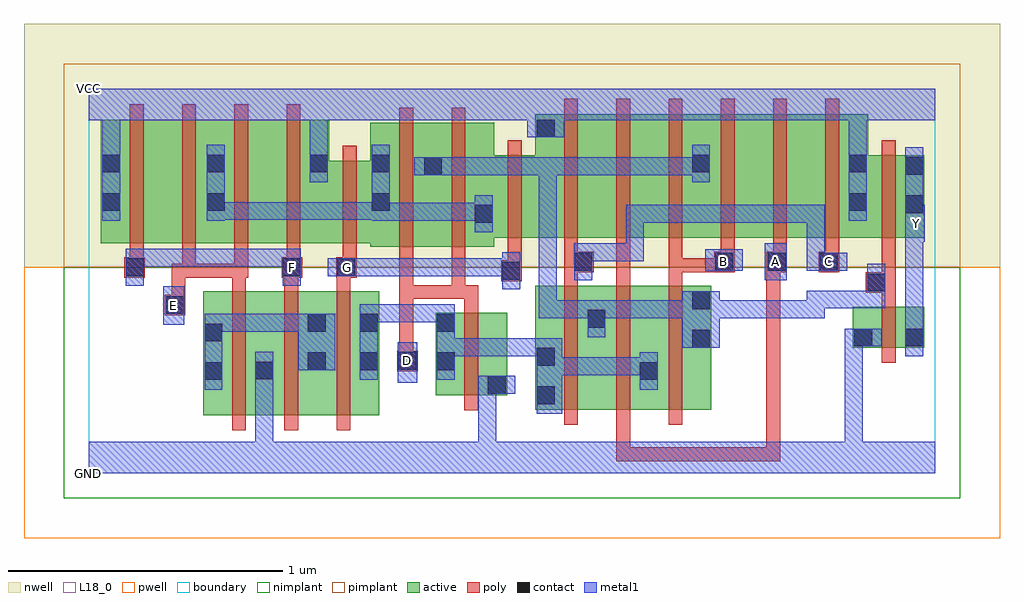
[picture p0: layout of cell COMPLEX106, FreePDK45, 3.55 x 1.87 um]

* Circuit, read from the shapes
.subckt COMPLEX106 A B C D E F G GND VCC Y
M1 GND E n1 VSUBS nfet w=0.45u l=0.05u
M2 n1 F GND VSUBS nfet w=0.45u l=0.05u
M3 n2 G n1 VSUBS nfet w=0.45u l=0.05u
M4 GND D n2 VSUBS nfet w=0.3u l=0.05u
M5 n3 C n2 VSUBS nfet w=0.45u l=0.05u
M6 n2 A n3 VSUBS nfet w=0.45u l=0.05u
M7 n3 B n2 VSUBS nfet w=0.45u l=0.05u
M8 Y n3 GND VSUBS nfet w=0.15u l=0.05u
M9 n4 F VCC n5 pfet w=0.45u l=0.05u
M10 n6 E n4 n5 pfet w=0.45u l=0.05u
M11 n7 E n6 n5 pfet w=0.45u l=0.05u
M12 VCC F n7 n5 pfet w=0.45u l=0.05u
M13 n6 G VCC n5 pfet w=0.3u l=0.05u m=2
M14 n3 D n6 n5 pfet w=0.45u l=0.05u m=2
M15 n8 C VCC n5 pfet w=0.45u l=0.05u
M16 n9 A n8 n5 pfet w=0.45u l=0.05u
M17 n3 B n9 n5 pfet w=0.45u l=0.05u
M18 n10 B n3 n5 pfet w=0.45u l=0.05u
M19 n11 A n10 n5 pfet w=0.45u l=0.05u
M20 VCC C n11 n5 pfet w=0.45u l=0.05u
M21 Y n3 VCC n5 pfet w=0.3u l=0.05u
.ends

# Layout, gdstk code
import gdstk
lib = gdstk.Library(unit=1e-6, precision=1e-09)
def R(c, l, rs):  # rectangles x0, y0, x1, y1
    for r in rs: c.add(gdstk.rectangle(r[:2], r[2:], *l))
def A(c, l, x, y, w, h, nx, ny, dx, dy):  # array of equal rectangles
    R(c, l, [(x+i*dx, y+j*dy, x+i*dx+w, y+j*dy+h) for i in range(nx) for j in range(ny)])
active = (1, 0)
pwell = (2, 0)
nwell = (3, 0)
nimplant = (4, 0)
pimplant = (5, 0)
poly = (9, 0)
contact = (10, 0)
metal1 = (11, 0)
L18_0 = (18, 0)
boundary = (235, 0)

complex106 = lib.new_cell('COMPLEX106')
R(complex106, active, [(0.417,0.212,0.492,0.662), (0.417,0.212,0.677,0.662), (0.602,0.212,0.867,0.662), (0.602,0.212,0.677,0.542), (0.792,0.212,1.057,0.662), (0.792,0.232,0.867,0.585), (0.982,0.232,1.057,0.662), (1.625,0.232,1.7,0.682), (1.625,0.232,1.885,0.682), (1.81,0.232,2.075,0.682), (2,0.232,2.265,0.682), (2.19,0.232,2.265,0.682), (1.81,0.245,1.885,0.6), (2,0.245,2.075,0.587), (1.262,0.285,1.522,0.585), (1.262,0.285,1.337,0.585), (1.447,0.285,1.522,0.392), (2.78,0.457,2.855,0.607), (2.78,0.457,3.04,0.607), (2.965,0.457,3.04,0.607), (1.025,0.825,1.29,1.275), (1.215,0.825,1.475,1.275), (1.215,0.825,1.29,1.2), (0.045,0.837,0.12,1.287), (0.045,0.837,0.27,1.287), (0.27,0.837,0.5,1.287), (0.425,0.837,0.65,1.287), (0.425,0.837,0.5,1.2), (0.65,0.837,0.875,1.287), (0.8,0.837,1.1,1.137), (1.025,0.837,1.1,1.2), (0.8,0.852,0.875,1.287), (1.4,0.857,1.7,1.157), (1.625,0.857,1.85,1.307), (1.85,0.857,2.04,1.307), (2.04,0.857,2.265,1.307), (2.19,0.857,2.42,1.307), (2.19,0.857,2.265,1.2), (2.42,0.857,2.61,1.307), (2.61,0.857,2.835,1.307), (2.76,0.857,2.835,1.307), (2.76,0.857,3.04,1.157), (2.965,0.857,3.04,1.157), (1.4,0.907,1.475,1.07), (1.625,0.912,1.7,1.292)])
R(complex106, pwell, [(-0.235,-0.235,3.315,0.75)])
R(complex106, nwell, [(-0.235,0.75,3.315,1.635)])
R(complex106, nimplant, [(-0.09,-0.09,3.17,0.75)])
R(complex106, pimplant, [(-0.09,0.75,3.17,1.49)])
A(complex106, poly, 0.522, 0.157, 0.05, 0.56, 3, 1, 0.19, 0)
A(complex106, poly, 1.73, 0.177, 0.05, 0.56, 3, 1, 0.19, 0)
A(complex106, poly, 0.522, 0.667, 0.05, 0.095, 3, 1, 0.19, 0)
A(complex106, poly, 1.73, 0.687, 0.05, 0.095, 3, 1, 0.19, 0)
A(complex106, poly, 2.275, 0.732, 0.075, 0.075, 3, 1, 0.19, 0)
A(complex106, poly, 2.3, 0.757, 0.05, 0.095, 3, 1, 0.19, 0)
A(complex106, poly, 0.15, 0.782, 0.05, 0.56, 4, 1, 0.19, 0)
A(complex106, poly, 1.73, 0.802, 0.05, 0.56, 6, 1, 0.19, 0)
R(complex106, poly, [(1.92,0.045,1.97,0.095), (1.92,0.045,1.97,0.095), (1.92,0.045,1.97,0.095), (1.92,0.045,2.192,0.095), (1.92,0.045,1.97,0.227), (2.142,0.045,2.192,0.095), (2.142,0.045,2.192,0.095), (2.142,0.045,2.192,0.095), (2.142,0.045,2.325,0.095), (2.275,0.045,2.325,0.095), (2.275,0.045,2.325,0.095), (2.275,0.045,2.325,0.095), (2.275,0.045,2.325,0.095), (2.275,0.045,2.325,0.095), (2.275,0.045,2.515,0.095), (2.465,0.045,2.515,0.095), (2.465,0.045,2.515,0.095), (2.465,0.045,2.515,0.095), (2.465,0.045,2.515,0.095), (2.465,0.045,2.515,0.095), (2.465,0.045,2.515,0.782), (1.367,0.23,1.417,0.64), (1.122,0.372,1.197,0.447), (1.13,0.397,1.18,0.685), (2.885,0.402,2.935,0.662), (0.277,0.575,0.352,0.65), (1.367,0.59,1.417,0.685), (0.302,0.6,0.352,0.762), (2.885,0.612,2.935,0.707), (1.13,0.635,1.18,0.685), (1.13,0.635,1.18,0.685), (1.13,0.635,1.18,0.685), (1.13,0.635,1.37,0.685), (1.13,0.635,1.18,0.82), (1.32,0.635,1.37,0.685), (1.32,0.635,1.37,0.685), (1.32,0.635,1.37,0.82), (1.32,0.635,1.417,0.685), (2.827,0.657,2.935,0.732), (2.885,0.682,2.935,0.852), (1.5,0.7,1.575,0.775), (0.13,0.712,0.205,0.787), (0.302,0.712,0.352,0.762), (0.302,0.712,0.352,0.762), (0.302,0.712,0.39,0.762), (0.34,0.712,0.39,0.832), (0.34,0.712,0.572,0.762), (0.522,0.712,0.572,0.762), (0.522,0.712,0.572,0.762), (0.522,0.712,0.58,0.762), (0.53,0.712,0.58,0.832), (0.702,0.712,0.777,0.787), (0.9,0.712,0.975,0.787), (1.525,0.725,1.575,0.852), (1.73,0.732,1.837,0.807), (1.92,0.732,1.97,0.782), (1.92,0.732,1.97,0.852), (2.11,0.732,2.16,0.782), (2.11,0.732,2.16,0.782), (2.11,0.732,2.16,0.782), (2.11,0.732,2.325,0.782), (2.11,0.732,2.16,0.852), (2.465,0.732,2.515,0.782), (2.465,0.732,2.515,0.782), (0.15,0.737,0.2,0.832), (0.72,0.737,0.77,0.832), (0.925,0.737,0.975,0.832), (1.73,0.757,1.78,0.852), (1.13,0.77,1.18,1.33), (1.32,0.77,1.37,1.33), (0.925,0.782,0.975,1.192), (1.525,0.802,1.575,1.212), (2.885,0.802,2.935,1.212)])
A(complex106, contact, 2.28, 0.737, 0.065, 0.065, 3, 1, 0.19, 0)
R(complex106, contact, [(1.63,0.252,1.695,0.317), (1.452,0.29,1.517,0.355), (0.422,0.34,0.487,0.405), (2.005,0.34,2.07,0.405), (0.607,0.342,0.672,0.407), (0.797,0.375,0.862,0.44), (0.987,0.375,1.052,0.44), (1.267,0.375,1.332,0.44), (1.127,0.377,1.192,0.442), (1.63,0.392,1.695,0.457), (2.195,0.457,2.26,0.522), (2.785,0.462,2.85,0.527), (2.97,0.462,3.035,0.527), (0.422,0.48,0.487,0.545), (0.797,0.515,0.862,0.58), (0.987,0.515,1.052,0.58), (1.267,0.515,1.332,0.58), (1.815,0.53,1.88,0.595), (0.282,0.58,0.347,0.645), (2.195,0.597,2.26,0.662), (2.832,0.662,2.897,0.727), (1.505,0.705,1.57,0.77), (0.135,0.717,0.2,0.782), (0.707,0.717,0.772,0.782), (0.905,0.717,0.97,0.782), (1.767,0.737,1.832,0.802), (1.405,0.912,1.47,0.977), (2.97,0.947,3.035,1.012), (0.05,0.955,0.115,1.02), (0.43,0.955,0.495,1.02), (1.03,0.955,1.095,1.02), (2.765,0.955,2.83,1.02), (1.22,1.085,1.285,1.15), (2.97,1.087,3.035,1.152), (0.05,1.095,0.115,1.16), (0.43,1.095,0.495,1.16), (0.805,1.095,0.87,1.16), (1.03,1.095,1.095,1.16), (2.195,1.095,2.26,1.16), (2.765,1.095,2.83,1.16), (1.63,1.222,1.695,1.287)])
R(complex106, metal1, [(0,0,3.08,0.115), (0.607,0.05,0.672,0.115), (0.607,0.05,0.672,0.115), (0.607,0.05,0.672,0.372), (1.417,0.05,1.482,0.115), (1.417,0.05,1.482,0.115), (1.417,0.05,1.482,0.115), (1.417,0.05,1.482,0.115), (1.417,0.05,1.482,0.355), (2.75,0.05,2.815,0.115), (2.75,0.05,2.815,0.115), (2.75,0.05,2.815,0.115), (2.75,0.05,2.815,0.115), (2.75,0.05,2.815,0.115), (2.75,0.05,2.815,0.115), (2.75,0.05,2.815,0.527), (1.63,0.217,1.722,0.492), (1.417,0.29,1.552,0.355), (0.422,0.305,0.487,0.58), (2.005,0.305,2.07,0.44), (0.607,0.307,0.672,0.442), (1.125,0.33,1.195,0.477), (0.987,0.34,1.052,0.615), (1.267,0.34,1.332,0.615), (1.657,0.357,1.722,0.422), (1.657,0.357,1.722,0.422), (1.657,0.357,1.88,0.422), (1.815,0.357,1.88,0.422), (1.815,0.357,2.02,0.422), (1.955,0.357,2.02,0.422), (1.955,0.357,2.07,0.422), (0.762,0.375,0.897,0.58), (1.267,0.427,1.332,0.492), (1.267,0.427,1.332,0.492), (1.267,0.427,1.47,0.492), (1.405,0.427,1.47,0.492), (1.405,0.427,1.47,0.492), (1.405,0.427,1.47,0.492), (1.405,0.427,1.47,0.492), (1.405,0.427,1.47,0.492), (1.405,0.427,1.695,0.492), (2.97,0.427,3.035,0.562), (2.16,0.457,2.295,0.662), (2.75,0.462,2.885,0.527), (1.815,0.495,1.88,0.63), (2.97,0.497,3.035,0.907), (0.422,0.515,0.487,0.58), (0.422,0.515,0.487,0.58), (0.422,0.515,0.632,0.58), (0.567,0.515,0.632,0.58), (0.567,0.515,0.797,0.58), (0.732,0.515,0.797,0.58), (0.732,0.515,0.827,0.58), (0.272,0.54,0.347,0.68), (0.987,0.55,1.182,0.615), (1.117,0.55,1.182,0.615), (1.117,0.55,1.332,0.615), (1.637,0.565,1.702,0.63), (1.637,0.565,1.88,0.63), (1.637,0.565,1.702,1.15), (1.815,0.565,1.88,0.63), (1.815,0.565,1.88,0.63), (1.815,0.565,2.017,0.63), (1.952,0.565,2.017,0.63), (1.952,0.565,2.017,0.63), (1.952,0.565,2.017,0.63), (1.952,0.565,2.157,0.63), (2.092,0.565,2.157,0.63), (2.092,0.565,2.225,0.63), (2.23,0.565,2.295,0.63), (2.23,0.565,2.295,0.63), (2.23,0.565,2.54,0.63), (2.475,0.565,2.54,0.63), (2.475,0.565,2.54,0.63), (2.475,0.565,2.54,0.63), (2.475,0.565,2.677,0.63), (2.612,0.565,2.677,0.665), (2.612,0.6,2.677,0.665), (2.612,0.6,2.677,0.665), (2.612,0.6,2.897,0.665), (2.832,0.6,2.897,0.665), (2.832,0.6,2.897,0.692), (2.832,0.627,2.897,0.692), (2.832,0.627,2.897,0.692), (2.832,0.627,2.897,0.762), (1.505,0.67,1.57,0.805), (0.135,0.682,0.2,0.817), (0.707,0.682,0.772,0.817), (1.767,0.702,1.832,0.837), (2.46,0.702,2.54,0.837), (0.87,0.717,1.007,0.782), (0.942,0.717,1.007,0.782), (0.942,0.717,1.007,0.782), (0.942,0.717,1.182,0.782), (1.117,0.717,1.182,0.782), (1.117,0.717,1.32,0.782), (1.255,0.717,1.32,0.782), (1.255,0.717,1.32,0.782), (1.255,0.717,1.32,0.782), (1.255,0.717,1.47,0.782), (1.405,0.717,1.47,0.782), (1.405,0.717,1.57,0.782), (2.242,0.737,2.38,0.815), (2.612,0.737,2.677,0.802), (2.612,0.737,2.687,0.802), (2.612,0.737,2.677,0.977), (2.622,0.737,2.76,0.802), (0.135,0.752,0.2,0.817), (0.135,0.752,0.2,0.817), (0.135,0.752,0.35,0.817), (0.285,0.752,0.35,0.817), (0.285,0.752,0.35,0.817), (0.285,0.752,0.35,0.817), (0.285,0.752,0.632,0.817), (0.567,0.752,0.632,0.817), (0.567,0.752,0.632,0.817), (0.567,0.752,0.632,0.817), (0.567,0.752,0.772,0.817), (1.767,0.772,1.88,0.837), (1.815,0.772,1.88,0.837), (1.815,0.772,2.02,0.837), (1.955,0.772,2.02,0.837), (1.955,0.772,2.02,0.837), (1.955,0.772,2.02,0.837), (1.955,0.772,2.02,0.977), (2.97,0.842,3.042,0.977), (1.405,0.877,1.47,1.012), (1.955,0.912,2.02,0.977), (1.955,0.912,2.157,0.977), (2.092,0.912,2.157,0.977), (2.092,0.912,2.295,0.977), (2.23,0.912,2.295,0.977), (2.23,0.912,2.295,0.977), (2.23,0.912,2.295,0.977), (2.23,0.912,2.432,0.977), (2.367,0.912,2.432,0.977), (2.367,0.912,2.432,0.977), (2.367,0.912,2.432,0.977), (2.367,0.912,2.677,0.977), (2.612,0.912,2.677,0.977), (2.97,0.912,3.035,0.977), (2.97,0.912,3.035,1.187), (0.05,0.92,0.115,1.195), (0.43,0.92,0.495,1.195), (1.03,0.92,1.095,1.195), (1.03,0.92,1.182,0.985), (1.117,0.92,1.182,0.985), (1.117,0.92,1.332,0.985), (1.267,0.92,1.332,0.985), (1.267,0.92,1.332,0.985), (1.267,0.92,1.332,0.985), (1.267,0.92,1.47,0.985), (2.765,0.92,2.83,1.195), (0.43,0.922,0.495,0.987), (0.43,0.922,0.495,0.987), (0.43,0.922,0.632,0.987), (0.567,0.922,0.632,0.987), (0.567,0.922,0.797,0.987), (0.732,0.922,0.797,0.987), (0.732,0.922,0.797,0.987), (0.732,0.922,0.797,0.987), (0.732,0.922,1.045,0.987), (0.98,0.922,1.045,0.987), (0.98,0.922,1.095,0.987), (0.805,1.06,0.87,1.195), (2.195,1.06,2.26,1.195), (1.185,1.085,1.32,1.15), (1.255,1.085,1.32,1.15), (1.255,1.085,1.32,1.15), (1.255,1.085,1.522,1.15), (1.457,1.085,1.522,1.15), (1.457,1.085,1.522,1.15), (1.457,1.085,1.522,1.15), (1.457,1.085,1.702,1.15), (1.637,1.085,1.702,1.15), (1.637,1.085,1.702,1.15), (1.637,1.085,1.702,1.15), (1.637,1.085,1.702,1.15), (1.637,1.085,1.702,1.15), (1.637,1.085,1.86,1.15), (1.795,1.085,1.86,1.15), (1.795,1.085,1.86,1.15), (1.795,1.085,1.86,1.15), (1.795,1.085,1.86,1.15), (1.795,1.085,1.86,1.15), (1.795,1.085,2.02,1.15), (1.955,1.085,2.02,1.15), (1.955,1.085,2.02,1.15), (1.955,1.085,2.02,1.15), (1.955,1.085,2.157,1.15), (2.092,1.085,2.157,1.15), (2.092,1.085,2.26,1.15), (0.05,1.13,0.115,1.35), (0.805,1.13,0.87,1.35), (2.765,1.13,2.83,1.35), (1.595,1.222,1.73,1.287), (1.665,1.222,1.73,1.35), (0,1.285,3.08,1.4)])
R(complex106, L18_0, [(0,0,3.08,0.115), (0.607,0.05,0.672,0.115), (0.607,0.05,0.672,0.115), (0.607,0.05,0.672,0.372), (1.417,0.05,1.482,0.115), (1.417,0.05,1.482,0.115), (1.417,0.05,1.482,0.115), (1.417,0.05,1.482,0.115), (1.417,0.05,1.482,0.355), (2.75,0.05,2.815,0.115), (2.75,0.05,2.815,0.115), (2.75,0.05,2.815,0.115), (2.75,0.05,2.815,0.115), (2.75,0.05,2.815,0.115), (2.75,0.05,2.815,0.115), (2.75,0.05,2.815,0.527), (1.417,0.29,1.552,0.355), (0.607,0.307,0.672,0.442), (1.125,0.33,1.195,0.477), (1.127,0.377,1.192,0.442), (2.97,0.427,3.035,0.562), (2.75,0.462,2.885,0.527), (2.97,0.497,3.035,0.907), (0.272,0.54,0.347,0.68), (0.277,0.577,0.342,0.642), (1.505,0.67,1.57,0.805), (0.135,0.682,0.2,0.817), (0.707,0.682,0.772,0.817), (1.767,0.702,1.832,0.837), (2.46,0.702,2.54,0.837), (0.707,0.717,0.772,0.782), (0.87,0.717,1.007,0.782), (0.907,0.717,0.972,0.782), (0.942,0.717,1.007,0.782), (0.942,0.717,1.007,0.782), (0.942,0.717,1.182,0.782), (1.117,0.717,1.182,0.782), (1.117,0.717,1.32,0.782), (1.255,0.717,1.32,0.782), (1.255,0.717,1.32,0.782), (1.255,0.717,1.32,0.782), (1.255,0.717,1.47,0.782), (1.405,0.717,1.47,0.782), (1.405,0.717,1.57,0.782), (2.242,0.737,2.38,0.815), (2.277,0.737,2.342,0.802), (2.467,0.737,2.532,0.802), (2.612,0.737,2.677,0.802), (2.612,0.737,2.677,0.977), (2.612,0.737,2.687,0.802), (2.622,0.737,2.76,0.802), (2.657,0.737,2.722,0.802), (0.135,0.752,0.2,0.817), (0.135,0.752,0.2,0.817), (0.135,0.752,0.35,0.817), (0.285,0.752,0.35,0.817), (0.285,0.752,0.35,0.817), (0.285,0.752,0.35,0.817), (0.285,0.752,0.632,0.817), (0.567,0.752,0.632,0.817), (0.567,0.752,0.632,0.817), (0.567,0.752,0.632,0.817), (0.567,0.752,0.772,0.817), (1.767,0.772,1.88,0.837), (1.815,0.772,1.88,0.837), (1.815,0.772,2.02,0.837), (1.955,0.772,2.02,0.837), (1.955,0.772,2.02,0.837), (1.955,0.772,2.02,0.837), (1.955,0.772,2.02,0.977), (2.97,0.842,3.042,0.977), (2.977,0.877,3.042,0.942), (1.955,0.912,2.02,0.977), (1.955,0.912,2.157,0.977), (2.092,0.912,2.157,0.977), (2.092,0.912,2.295,0.977), (2.23,0.912,2.295,0.977), (2.23,0.912,2.295,0.977), (2.23,0.912,2.295,0.977), (2.23,0.912,2.432,0.977), (2.367,0.912,2.432,0.977), (2.367,0.912,2.432,0.977), (2.367,0.912,2.432,0.977), (2.367,0.912,2.677,0.977), (2.612,0.912,2.677,0.977), (2.97,0.912,3.035,1.187), (2.97,0.912,3.035,0.977), (0.05,0.92,0.115,1.195), (2.765,0.92,2.83,1.195), (0.805,1.06,0.87,1.195), (0.05,1.13,0.115,1.35), (0.805,1.13,0.87,1.35), (2.765,1.13,2.83,1.35), (1.595,1.222,1.73,1.287), (1.665,1.222,1.73,1.35), (0,1.285,3.08,1.4)])
R(complex106, boundary, [(0,0,3.08,1.4)])
complex106.add(gdstk.Label('A', (2.5,0.77), layer=11, texttype=0))
complex106.add(gdstk.Label('B', (2.31,0.77), layer=11, texttype=0))
complex106.add(gdstk.Label('C', (2.69,0.77), layer=11, texttype=0))
complex106.add(gdstk.Label('D', (1.16,0.41), layer=11, texttype=0))
complex106.add(gdstk.Label('E', (0.31,0.61), layer=11, texttype=0))
complex106.add(gdstk.Label('F', (0.74,0.75), layer=11, texttype=0))
complex106.add(gdstk.Label('G', (0.94,0.75), layer=11, texttype=0))
complex106.add(gdstk.Label('Y', (3.01,0.91), layer=11, texttype=0))
complex106.add(gdstk.Label('VCC', (0,1.4), layer=11, texttype=0))
complex106.add(gdstk.Label('GND', (0,0), layer=11, texttype=0))

lib.write_gds('COMPLEX106.gds')
